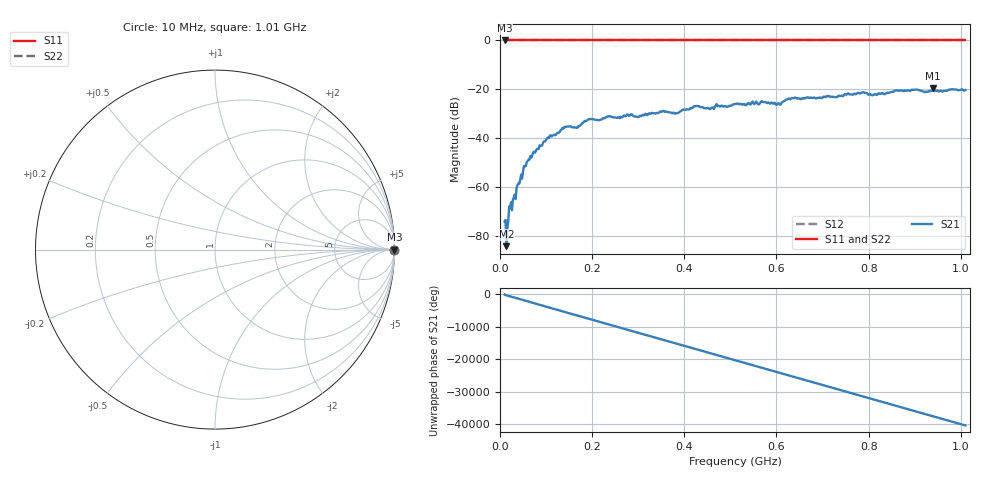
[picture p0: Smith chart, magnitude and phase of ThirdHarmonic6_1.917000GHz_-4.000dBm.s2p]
! 8/16/2025 11:07:00 PM
! C:\ANRITSUVNA\TEMP\TEMP.S2P
! CHANNEL.1
! TR.MEASUREMENT
! RAW.DATA
! RF.CORRECTION.OFF
! AVERAGING.OFF
! IF.BANDWIDTH: 5KHZ
! SWEEPTYPE:  FREQ.SWEEP(Linear)
! Reference Plane Port Info
! PORT:  PORT1  PORT2
! DISTANCE:  0  m  0  m
! TIME:  0  s  0  s
! PHASE.OFFSET:  0  deg.  0  deg.
! LOSS:  0  dB  0  dB
! REF.LOSS:  0  dB  0  dB
! REF.FREQ:  0  Hz  0  Hz
! Power Info
! POWER:  -20  dBm  -20  dBm
! EFF.POWER:  -20  dBm  -20  dBm
! SOURCE.ATTEN:  0  dB  0  dB
! TEST.ATTEN:  0  dB  0  dB
# GHZ S RI R 50.0
! FREQ.GHZ  S11RE  S11IM  S21RE  S21IM  S12RE  S12IM  S22RE  S22IM
!; PortSelection: Port_12
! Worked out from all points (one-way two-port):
!   501 points, 10 MHz to 1.01 GHz, reference 50 ohm
!   highest |S21| = -19.64 dB at 940 MHz (marker M1); lowest = -84.2 dB at 14 MHz (marker M2)
!   lowest |S11| = 0.0 dB at 10 MHz (marker M3)
!   |S11| at or under -10 dB: nowhere
!   |S22| runs from 0.0 to 0.0 dB; largest |S21 - S12| = 1.1
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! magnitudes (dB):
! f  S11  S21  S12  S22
! 10 MHz  0.0  -74.1  0.0  0.0
! 14 MHz  0.0  -84.2  0.0  0.0
! 24 MHz  0.0  -66.2  0.0  0.0
! 30 MHz  0.0  -64.4  0.0  0.0
! 42 MHz  0.0  -58.6  0.0  0.0
! 56 MHz  0.0  -51.4  0.0  0.0
! 70 MHz  0.0  -47.1  0.0  0.0
! 106 MHz  0.0  -40.0  0.0  0.0
! 140 MHz  0.0  -35.4  0.0  0.0
! 178 MHz  0.0  -33.9  0.0  0.0
! 234 MHz  0.0  -31.2  0.0  0.0
! 344 MHz  0.0  -29.7  0.0  0.0
! 384 MHz  0.0  -29.7  0.0  0.0
! 424 MHz  0.0  -26.9  0.0  0.0
! 460 MHz  0.0  -27.4  0.0  0.0
! 510 MHz  0.0  -26.0  0.0  0.0
! 604 MHz  0.0  -25.6  0.0  0.0
! 636 MHz  0.0  -23.6  0.0  0.0
! 678 MHz  0.0  -23.5  0.0  0.0
! 844 MHz  0.0  -21.5  0.0  0.0
! 940 MHz  0.0  -19.6  0.0  0.0
! 1.01 GHz  0.0  -20.3  0.0  0.0
